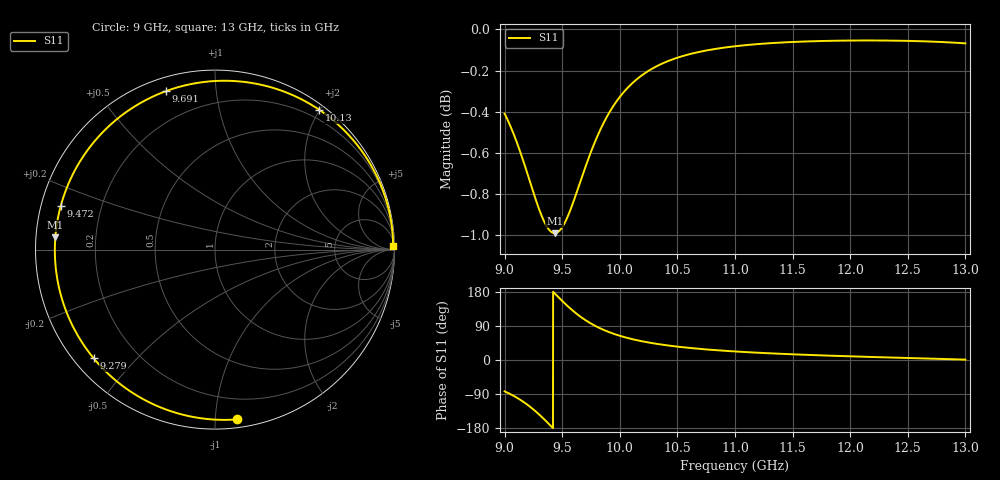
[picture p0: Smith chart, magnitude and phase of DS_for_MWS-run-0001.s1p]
! TOUCHSTONE file generated by CST DESIGN STUDIO
! Date and time: Tue Feb  4 18:30:30 2025
! Project name: C:\Work\MatlabApps\UnitCellOptimizationMatlab\CST\unitcell.cst
! Tree item: Tasks\Sweep1\SPara1\S-Parameters
! Header version: 2024
! Port assignment regex: !\s*Touchstone port\s*([0-9]+)\s*=\s*(CST MWS port|CST DES external port|CST DES block port)\s*(.+)\s* \(\"(.*)\"\)(\s*mode\s*([0-9]+))?.*
! Touchstone port assignment:
! Touchstone port 1 = CST DES external port 1 ("")
# GHz S MA R 50
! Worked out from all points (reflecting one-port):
!   4001 points, 9 GHz to 13 GHz, reference 50 ohm
!   lowest |S11| = -1.0 dB at 9.435 GHz (marker M1), VSWR 17.56, Z = 2.85 + j1.89 ohm
!   phase of S11 starts at -83 deg and turns -276 deg over the sweep
!   S11 on the Smith chart (normalised r, x): 9 GHz: 0.05, -1.13; 9.279 GHz: 0.06, -0.38; 9.472 GHz: 0.06, +0.14; 9.691 GHz: 0.06, +0.73; 10.13 GHz: 0.07, +1.99; 13 GHz: open
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9  0.954 -82.7
9.084  0.9423 -95.5
9.154  0.9305 -108.6
9.218  0.9187 -122.7
9.279  0.9076 -138.1
9.323  0.9007 -150.4
9.362  0.896 -161.9
9.399  0.8931 -173.2
9.435  0.8922 175.7
9.472  0.8932 164.3
9.5  0.8952 155.9
9.549  0.9007 141.7
9.595  0.9077 129.4
9.642  0.9156 118.0
9.691  0.9241 107.4
9.761  0.9355 94.2
9.844  0.9471 81.5
9.92  0.9557 72.1
10  0.9629 63.9
10.134  0.9718 53.2
10.299  0.9789 43.6
10.5  0.9843 35.3
10.723  0.9879 28.6
11  0.9906 22.5
11.5  0.993 15.0
12  0.9938 9.7
12.5  0.9936 5.3
13  0.9922 1.0
